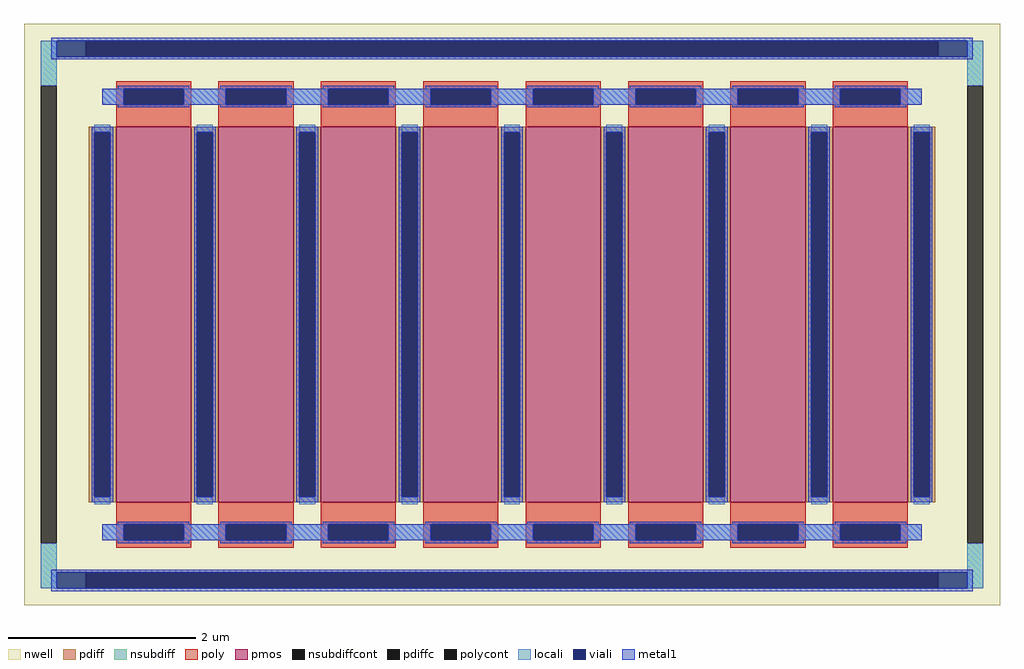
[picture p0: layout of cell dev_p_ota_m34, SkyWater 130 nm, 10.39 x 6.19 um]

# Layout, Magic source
magic
tech sky130A
magscale 1 2
<< nwell >>
rect -1039 -619 1039 619
<< pmos >>
rect -843 -400 -683 400
rect -625 -400 -465 400
rect -407 -400 -247 400
rect -189 -400 -29 400
rect 29 -400 189 400
rect 247 -400 407 400
rect 465 -400 625 400
rect 683 -400 843 400
<< pdiff >>
rect -901 388 -843 400
rect -901 -388 -889 388
rect -855 -388 -843 388
rect -901 -400 -843 -388
rect -683 388 -625 400
rect -683 -388 -671 388
rect -637 -388 -625 388
rect -683 -400 -625 -388
rect -465 388 -407 400
rect -465 -388 -453 388
rect -419 -388 -407 388
rect -465 -400 -407 -388
rect -247 388 -189 400
rect -247 -388 -235 388
rect -201 -388 -189 388
rect -247 -400 -189 -388
rect -29 388 29 400
rect -29 -388 -17 388
rect 17 -388 29 388
rect -29 -400 29 -388
rect 189 388 247 400
rect 189 -388 201 388
rect 235 -388 247 388
rect 189 -400 247 -388
rect 407 388 465 400
rect 407 -388 419 388
rect 453 -388 465 388
rect 407 -400 465 -388
rect 625 388 683 400
rect 625 -388 637 388
rect 671 -388 683 388
rect 625 -400 683 -388
rect 843 388 901 400
rect 843 -388 855 388
rect 889 -388 901 388
rect 843 -400 901 -388
<< pdiffc >>
rect -889 -388 -855 388
rect -671 -388 -637 388
rect -453 -388 -419 388
rect -235 -388 -201 388
rect -17 -388 17 388
rect 201 -388 235 388
rect 419 -388 453 388
rect 637 -388 671 388
rect 855 -388 889 388
<< nsubdiff >>
rect -1003 549 -907 583
rect 907 549 1003 583
rect -1003 487 -969 549
rect 969 487 1003 549
rect -1003 -549 -969 -487
rect 969 -549 1003 -487
rect -1003 -583 -907 -549
rect 907 -583 1003 -549
<< nsubdiffcont >>
rect -907 549 907 583
rect -1003 -487 -969 487
rect 969 -487 1003 487
rect -907 -583 907 -549
<< poly >>
rect -843 481 -683 497
rect -843 447 -827 481
rect -699 447 -683 481
rect -843 400 -683 447
rect -625 481 -465 497
rect -625 447 -609 481
rect -481 447 -465 481
rect -625 400 -465 447
rect -407 481 -247 497
rect -407 447 -391 481
rect -263 447 -247 481
rect -407 400 -247 447
rect -189 481 -29 497
rect -189 447 -173 481
rect -45 447 -29 481
rect -189 400 -29 447
rect 29 481 189 497
rect 29 447 45 481
rect 173 447 189 481
rect 29 400 189 447
rect 247 481 407 497
rect 247 447 263 481
rect 391 447 407 481
rect 247 400 407 447
rect 465 481 625 497
rect 465 447 481 481
rect 609 447 625 481
rect 465 400 625 447
rect 683 481 843 497
rect 683 447 699 481
rect 827 447 843 481
rect 683 400 843 447
rect -843 -447 -683 -400
rect -843 -481 -827 -447
rect -699 -481 -683 -447
rect -843 -497 -683 -481
rect -625 -447 -465 -400
rect -625 -481 -609 -447
rect -481 -481 -465 -447
rect -625 -497 -465 -481
rect -407 -447 -247 -400
rect -407 -481 -391 -447
rect -263 -481 -247 -447
rect -407 -497 -247 -481
rect -189 -447 -29 -400
rect -189 -481 -173 -447
rect -45 -481 -29 -447
rect -189 -497 -29 -481
rect 29 -447 189 -400
rect 29 -481 45 -447
rect 173 -481 189 -447
rect 29 -497 189 -481
rect 247 -447 407 -400
rect 247 -481 263 -447
rect 391 -481 407 -447
rect 247 -497 407 -481
rect 465 -447 625 -400
rect 465 -481 481 -447
rect 609 -481 625 -447
rect 465 -497 625 -481
rect 683 -447 843 -400
rect 683 -481 699 -447
rect 827 -481 843 -447
rect 683 -497 843 -481
<< polycont >>
rect -827 447 -699 481
rect -609 447 -481 481
rect -391 447 -263 481
rect -173 447 -45 481
rect 45 447 173 481
rect 263 447 391 481
rect 481 447 609 481
rect 699 447 827 481
rect -827 -481 -699 -447
rect -609 -481 -481 -447
rect -391 -481 -263 -447
rect -173 -481 -45 -447
rect 45 -481 173 -447
rect 263 -481 391 -447
rect 481 -481 609 -447
rect 699 -481 827 -447
<< locali >>
rect -1003 487 -969 583
rect 969 487 1003 583
rect -872 447 -827 481
rect -699 447 -609 481
rect -481 447 -391 481
rect -263 447 -173 481
rect -45 447 45 481
rect 173 447 263 481
rect 391 447 481 481
rect 609 447 699 481
rect 827 447 872 481
rect -889 388 -855 404
rect -889 -404 -855 -388
rect -671 388 -637 404
rect -671 -404 -637 -388
rect -453 388 -419 404
rect -453 -404 -419 -388
rect -235 388 -201 404
rect -235 -404 -201 -388
rect -17 388 17 404
rect -17 -404 17 -388
rect 201 388 235 404
rect 201 -404 235 -388
rect 419 388 453 404
rect 419 -404 453 -388
rect 637 388 671 404
rect 637 -404 671 -388
rect 855 388 889 404
rect 855 -404 889 -388
rect -872 -481 -827 -447
rect -699 -481 -609 -447
rect -481 -481 -391 -447
rect -263 -481 -173 -447
rect -45 -481 45 -447
rect 173 -481 263 -447
rect 391 -481 481 -447
rect 609 -481 699 -447
rect 827 -481 872 -447
rect -1003 -583 -969 -487
rect 969 -583 1003 -487
<< viali >>
rect -969 549 -907 583
rect -907 549 907 583
rect 907 549 969 583
rect -827 447 -699 481
rect -609 447 -481 481
rect -391 447 -263 481
rect -173 447 -45 481
rect 45 447 173 481
rect 263 447 391 481
rect 481 447 609 481
rect 699 447 827 481
rect -889 -388 -855 388
rect -671 -388 -637 388
rect -453 -388 -419 388
rect -235 -388 -201 388
rect -17 -388 17 388
rect 201 -388 235 388
rect 419 -388 453 388
rect 637 -388 671 388
rect 855 -388 889 388
rect -827 -481 -699 -447
rect -609 -481 -481 -447
rect -391 -481 -263 -447
rect -173 -481 -45 -447
rect 45 -481 173 -447
rect 263 -481 391 -447
rect 481 -481 609 -447
rect 699 -481 827 -447
rect -969 -583 -907 -549
rect -907 -583 907 -549
rect 907 -583 969 -549
<< metal1 >>
rect -981 583 981 589
rect -981 549 -969 583
rect 969 549 981 583
rect -981 543 981 549
rect -839 481 -687 487
rect -621 481 -469 487
rect -403 481 -251 487
rect -185 481 -33 487
rect 33 481 185 487
rect 251 481 403 487
rect 469 481 621 487
rect 687 481 839 487
rect -872 447 -827 481
rect -699 447 -609 481
rect -481 447 -391 481
rect -263 447 -173 481
rect -45 447 45 481
rect 173 447 263 481
rect 391 447 481 481
rect 609 447 699 481
rect 827 447 872 481
rect -839 441 -687 447
rect -621 441 -469 447
rect -403 441 -251 447
rect -185 441 -33 447
rect 33 441 185 447
rect 251 441 403 447
rect 469 441 621 447
rect 687 441 839 447
rect -895 388 -849 400
rect -895 -388 -889 388
rect -855 -388 -849 388
rect -895 -400 -849 -388
rect -677 388 -631 400
rect -677 -388 -671 388
rect -637 -388 -631 388
rect -677 -400 -631 -388
rect -459 388 -413 400
rect -459 -388 -453 388
rect -419 -388 -413 388
rect -459 -400 -413 -388
rect -241 388 -195 400
rect -241 -388 -235 388
rect -201 -388 -195 388
rect -241 -400 -195 -388
rect -23 388 23 400
rect -23 -388 -17 388
rect 17 -388 23 388
rect -23 -400 23 -388
rect 195 388 241 400
rect 195 -388 201 388
rect 235 -388 241 388
rect 195 -400 241 -388
rect 413 388 459 400
rect 413 -388 419 388
rect 453 -388 459 388
rect 413 -400 459 -388
rect 631 388 677 400
rect 631 -388 637 388
rect 671 -388 677 388
rect 631 -400 677 -388
rect 849 388 895 400
rect 849 -388 855 388
rect 889 -388 895 388
rect 849 -400 895 -388
rect -839 -447 -687 -441
rect -621 -447 -469 -441
rect -403 -447 -251 -441
rect -185 -447 -33 -441
rect 33 -447 185 -441
rect 251 -447 403 -441
rect 469 -447 621 -441
rect 687 -447 839 -441
rect -872 -481 -827 -447
rect -699 -481 -609 -447
rect -481 -481 -391 -447
rect -263 -481 -173 -447
rect -45 -481 45 -447
rect 173 -481 263 -447
rect 391 -481 481 -447
rect 609 -481 699 -447
rect 827 -481 872 -447
rect -839 -487 -687 -481
rect -621 -487 -469 -481
rect -403 -487 -251 -481
rect -185 -487 -33 -481
rect 33 -487 185 -481
rect 251 -487 403 -481
rect 469 -487 621 -481
rect 687 -487 839 -481
rect -981 -549 981 -543
rect -981 -583 -969 -549
rect 969 -583 981 -549
rect -981 -589 981 -583
<< properties >>
string FIXED_BBOX -986 -566 986 566
<< end >>
